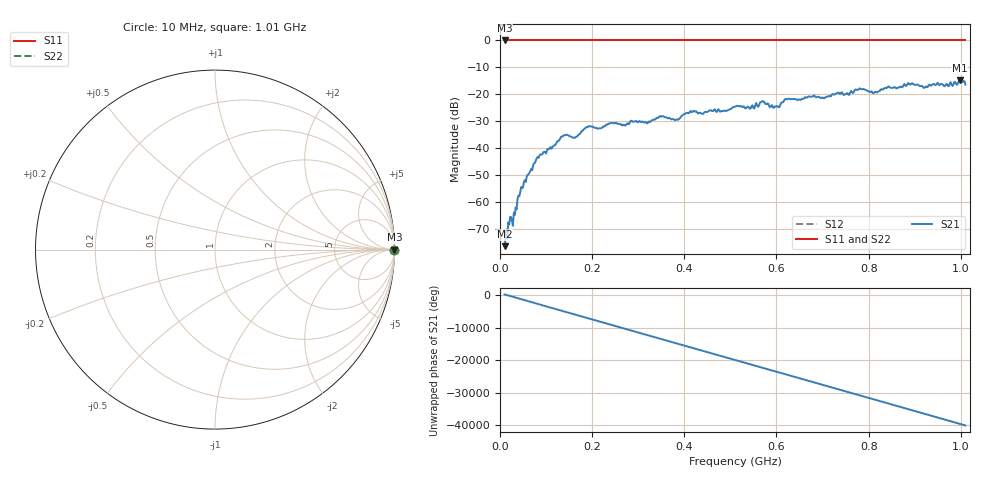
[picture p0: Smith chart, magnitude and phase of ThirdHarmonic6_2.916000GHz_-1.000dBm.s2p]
! 8/17/2025 8:06:09 AM
! C:\ANRITSUVNA\TEMP\TEMP.S2P
! CHANNEL.1
! TR.MEASUREMENT
! RAW.DATA
! RF.CORRECTION.OFF
! AVERAGING.OFF
! IF.BANDWIDTH: 5KHZ
! SWEEPTYPE:  FREQ.SWEEP(Linear)
! Reference Plane Port Info
! PORT:  PORT1  PORT2
! DISTANCE:  0  m  0  m
! TIME:  0  s  0  s
! PHASE.OFFSET:  0  deg.  0  deg.
! LOSS:  0  dB  0  dB
! REF.LOSS:  0  dB  0  dB
! REF.FREQ:  0  Hz  0  Hz
! Power Info
! POWER:  -20  dBm  -20  dBm
! EFF.POWER:  -20  dBm  -20  dBm
! SOURCE.ATTEN:  0  dB  0  dB
! TEST.ATTEN:  0  dB  0  dB
# GHZ S RI R 50.0
! FREQ.GHZ  S11RE  S11IM  S21RE  S21IM  S12RE  S12IM  S22RE  S22IM
!; PortSelection: Port_12
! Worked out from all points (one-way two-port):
!   501 points, 10 MHz to 1.01 GHz, reference 50 ohm
!   highest |S21| = -14.76 dB at 998 MHz (marker M1); lowest = -76.3 dB at 10 MHz (marker M2)
!   lowest |S11| = 0.0 dB at 10 MHz (marker M3)
!   |S11| at or under -10 dB: nowhere
!   |S22| runs from 0.0 to 0.0 dB; largest |S21 - S12| = 1.2
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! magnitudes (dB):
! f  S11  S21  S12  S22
! 10 MHz  0.0  -76.3  0.0  0.0
! 22 MHz  0.0  -65.4  0.0  0.0
! 32 MHz  0.0  -64.7  0.0  0.0
! 42 MHz  0.0  -57.7  0.0  0.0
! 82 MHz  0.0  -43.2  0.0  0.0
! 136 MHz  0.0  -35.6  0.0  0.0
! 162 MHz  0.0  -36.1  0.0  0.0
! 178 MHz  0.0  -33.5  0.0  0.0
! 344 MHz  0.0  -28.6  0.0  0.0
! 384 MHz  0.0  -29.3  0.0  0.0
! 416 MHz  0.0  -26.6  0.0  0.0
! 510 MHz  0.0  -24.6  0.0  0.0
! 548 MHz  0.0  -24.1  0.0  0.0
! 570 MHz  0.0  -22.4  0.0  0.0
! 602 MHz  0.0  -24.3  0.0  0.0
! 622 MHz  0.0  -21.9  0.0  0.0
! 678 MHz  0.0  -20.8  0.0  0.0
! 784 MHz  0.0  -18.1  0.0  0.0
! 814 MHz  0.0  -19.0  0.0  0.0
! 844 MHz  0.0  -17.1  0.0  0.0
! 998 MHz  0.0  -14.8  0.0  0.0
! 1.01 GHz  0.0  -16.3  0.0  0.0
